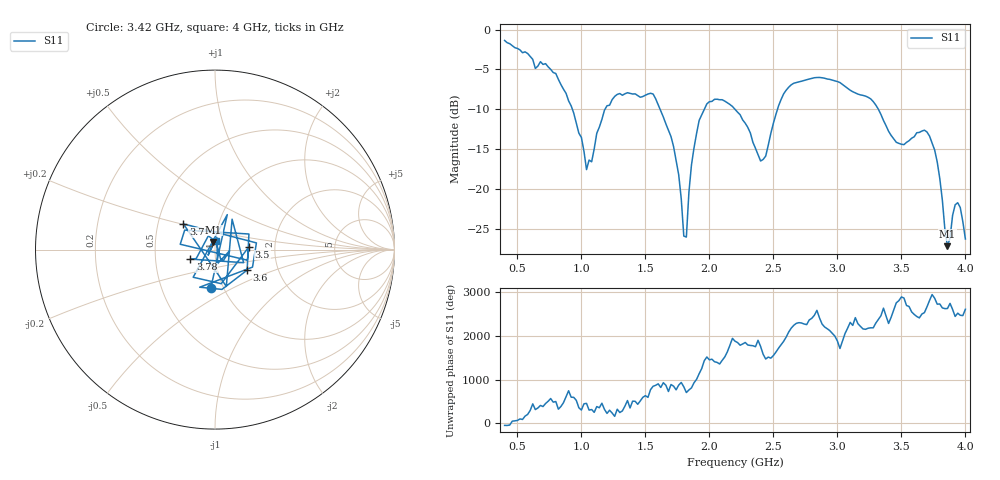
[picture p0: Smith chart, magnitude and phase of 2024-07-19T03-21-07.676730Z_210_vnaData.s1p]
!Created with skrf (http://scikit-rf.org).
# Hz S RI R 50.0
!freq ReS11 ImS11
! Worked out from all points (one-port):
!   181 points, 400 MHz to 4 GHz, reference 50 ohm
!   lowest |S11| = -27.2 dB at 3.86 GHz (marker M1), VSWR 1.09, Z = 49 + j4.21 ohm
!   |S11| at or under -10 dB: 1.614 GHz to 1.96 GHz (345.4 MHz wide, 19.3 % of centre); 2.199 GHz to 2.532 GHz (332.9 MHz wide, 14.1 % of centre); 3.32 GHz to end of sweep (the widest 3 of 4)
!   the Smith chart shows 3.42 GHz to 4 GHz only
!   S11 on the Smith chart (normalised r, x): 3.42 GHz: 0.87, -0.39; 3.5 GHz: 1.47, +0.05; 3.6 GHz: 1.39, -0.33; 3.7 GHz: 0.68, +0.20; 3.78 GHz: 0.75, -0.08; 4 GHz: 1.00, +0.10
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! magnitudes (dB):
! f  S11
! 400 MHz  -1.4
! 860 MHz  -7.5
! 1 GHz  -13.5
! 1.04 GHz  -17.6
! 1.18 GHz  -10.1
! 1.3 GHz  -8.0
! 1.56 GHz  -8.1
! 1.7 GHz  -13.4
! 1.76 GHz  -18.2
! 1.8 GHz  -25.9
! 1.82 GHz  -26.0
! 1.86 GHz  -17.0
! 1.92 GHz  -11.4
! 2.04 GHz  -8.8
! 2.2 GHz  -10.0
! 2.4 GHz  -16.5
! 2.66 GHz  -6.7
! 3.1 GHz  -7.6
! 3.28 GHz  -9.0
! 3.42 GHz  -13.3
! 3.5 GHz  -14.4
! 3.56 GHz  -13.9
! 3.6 GHz  -13.5
! 3.7 GHz  -12.9
! 3.78 GHz  -16.6
! 3.86 GHz  -27.2
! 3.94 GHz  -21.7
! 4 GHz  -26.3
